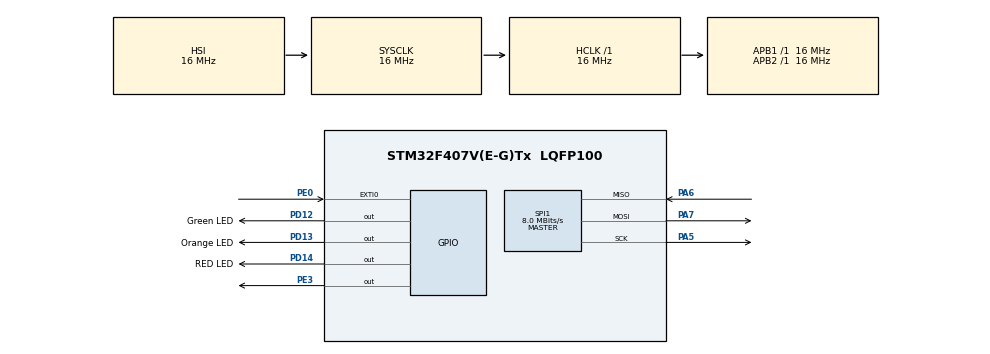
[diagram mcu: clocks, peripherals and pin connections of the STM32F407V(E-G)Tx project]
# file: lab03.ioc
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Mcu.Family=STM32F4
Mcu.Name=STM32F407V(E-G)Tx
Mcu.Package=LQFP100
NVIC.EXTI0_IRQn=true\:5\:0\:true\:false\:true\:true\:true\:true
NVIC.PriorityGroup=NVIC_PRIORITYGROUP_4
NVIC.TIM7_IRQn=true\:15\:0\:false\:false\:true\:false\:true\:true
NVIC.TimeBase=TIM7_IRQn
NVIC.TimeBaseIP=TIM7
PA13.Mode=Serial_Wire
PA13.Signal=SYS_JTMS-SWDIO
PA14.Mode=Serial_Wire
PA14.Signal=SYS_JTCK-SWCLK
PA5.Mode=Full_Duplex_Master
PA5.Signal=SPI1_SCK
PA6.Mode=Full_Duplex_Master
PA6.Signal=SPI1_MISO
PA7.Mode=Full_Duplex_Master
PA7.Signal=SPI1_MOSI
PD12.GPIO_Label=Green LED
PD12.Signal=GPIO_Output
PD13.GPIO_Label=Orange LED
PD13.Signal=GPIO_Output
PD14.GPIO_Label=RED LED
PD14.Signal=GPIO_Output
PE0.Signal=GPXTI0
PE3.Signal=GPIO_Output
ProjectManager.HeapSize=0x200
ProjectManager.StackSize=0x400
ProjectManager.TargetToolchain=STM32CubeIDE
RCC.AHBFreq_Value=16000000
RCC.APB1Freq_Value=16000000
RCC.APB2Freq_Value=16000000
RCC.CortexFreq_Value=16000000
RCC.HSE_VALUE=25000000
RCC.HSI_VALUE=16000000
RCC.LSE_VALUE=32768
RCC.SYSCLKFreq_VALUE=16000000
RCC.VCOOutputFreq_Value=192000000
SPI1.CalculateBaudRate=8.0 MBits/s
SPI1.Direction=SPI_DIRECTION_2LINES
SPI1.Mode=SPI_MODE_MASTER
SPI1.VirtualType=VM_MASTER
VP_SYS_VS_tim7.Mode=TIM7
board=custom

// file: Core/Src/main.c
/* USER CODE BEGIN Header */
/**
  ******************************************************************************
  * @file           : main.c
  * @brief          : Main program body
  ******************************************************************************
  * @attention
  *
  * <h2><center>&copy; Copyright (c) 2021 STMicroelectronics.
  * All rights reserved.</center></h2>
  *
  * This software component is licensed by ST under BSD 3-Clause license,
  * the "License"; You may not use this file except in compliance with the
  * License. You may obtain a copy of the License at:
  *                        opensource.org/licenses/BSD-3-Clause
  *
  ******************************************************************************
  */
/* USER CODE END Header */
#include "main.h"

/* USER CODE BEGIN Includes */
#include "FreeRTOS.h"
#include "task.h"
#include "semphr.h"

/* USER CODE END Includes */

/* USER CODE BEGIN PM */
#define LIS3DSH_WHO_AM_I_ADDR                0x0F
#define LIS3DSH_STAT_ADDR                    0x18
#define LIS3DSH_CTRL_REG4_ADDR               0x20
#define LIS3DSH_CTRL_REG1_ADDR               0x21
#define LIS3DSH_CTRL_REG2_ADDR               0x22
#define LIS3DSH_CTRL_REG3_ADDR               0x23
#define LIS3DSH_CTRL_REG5_ADDR               0x24
#define LIS3DSH_CTRL_REG6_ADDR               0x25

#define LIS3DSH_STATUS_ADDR                  0x27

#define LIS3DSH_OUT_X_L_ADDR                 0x28
#define LIS3DSH_OUT_X_H_ADDR                 0x29
#define LIS3DSH_OUT_Y_L_ADDR                 0x2A
#define LIS3DSH_OUT_Y_H_ADDR                 0x2B
#define LIS3DSH_OUT_Z_L_ADDR                 0x2C
#define LIS3DSH_OUT_Z_H_ADDR                 0x2D

#define LIS3DSH_ST1_1_ADDR                   0x40
#define LIS3DSH_ST1_2_ADDR                   0x41
#define LIS3DSH_THRS1_1_ADDR                 0x57
#define LIS3DSH_MASK1_B_ADDR                 0x59
#define LIS3DSH_MASK1_A_ADDR                 0x5A
#define LIS3DSH_SETT1_ADDR                   0x5B
#define LIS3DSH_OUTS1_ADDR                   0x5F
/* USER CODE END PM */

SPI_HandleTypeDef hspi1;

/* USER CODE BEGIN PV */

uint8_t data;
/* USER CODE END PV */

void SystemClock_Config(void);
static void MX_GPIO_Init(void);
static void MX_SPI1_Init(void);
/* USER CODE BEGIN PFP */
SemaphoreHandle_t xSemaphore = NULL;
/* USER CODE END PFP */

/* USER CODE BEGIN 0 */
void MEMS_Write(uint8_t address,uint8_t data){
	HAL_GPIO_WritePin(GPIOE, GPIO_PIN_3, GPIO_PIN_RESET);
	HAL_SPI_Transmit(&hspi1,&address,1,10);
	HAL_SPI_Transmit(&hspi1,&data,1,10);
	HAL_GPIO_WritePin(GPIOE, GPIO_PIN_3,GPIO_PIN_SET);
}
void MEMS_Read(uint8_t address,uint8_t *data){
    address |= 0x80;   //read
	HAL_GPIO_WritePin(GPIOE,GPIO_PIN_3,GPIO_PIN_RESET); //拉低
	HAL_SPI_Transmit(&hspi1,&address,1,10);   //告知讀取位置
	HAL_SPI_Receive(&hspi1,data,1,10);       //讀取
	HAL_GPIO_WritePin(GPIOE,GPIO_PIN_3,GPIO_PIN_SET);
}
void Green_LED_Task(void *pvParameters)
{
	//綠燈閃爍
	//使用 busywaiting
	for(;;){
		uint32_t From_begin_time = HAL_GetTick();
		HAL_GPIO_TogglePin(GPIOD, GPIO_PIN_12);
		while(HAL_GetTick() - From_begin_time < 250 / portTICK_RATE_MS){
		}
	}

}
void vHandlerTask( void *pvParameters )
{

	for(;;)
		{
			/* Take the semaphore */
			if (xSemaphoreTake(xSemaphore, portMAX_DELAY) == pdTRUE){
			// semaphore was obtained

				// 橘燈閃5次 使用 busy waiting
				for(int i=0;i<10;i++) {
					uint32_t From_begin_time = HAL_GetTick();
					HAL_GPIO_TogglePin(GPIOD, GPIO_PIN_13);
					while(HAL_GetTick() - From_begin_time < 250 / portTICK_RATE_MS){
					}
				}

				// reset interrupt register
				uint8_t data = 0;
				MEMS_Read(LIS3DSH_OUTS1_ADDR, &data);
			}

		}
}
//覆蓋原有的HAL_GPIO_EXTI_Callback
void HAL_GPIO_EXTI_Callback(uint16_t GPIO_Pin)
{
	/* 紅燈 toggle */
	HAL_GPIO_TogglePin(GPIOD, GPIO_PIN_14);

	/* Give the semaphore to unblock the handler task */
	BaseType_t xHigherPriorityTaskWoken;
	xHigherPriorityTaskWoken=pdFALSE;
	xSemaphoreGiveFromISR(xSemaphore,&xHigherPriorityTaskWoken);
	portYIELD_FROM_ISR(xHigherPriorityTaskWoken);
}
/* USER CODE END 0 */

int main(void)
{

  /* MCU Configuration--------------------------------------------------------*/

  /* Reset of all peripherals, Initializes the Flash interface and the Systick. */
  HAL_Init();

  /* Configure the system clock */
  SystemClock_Config();

  /* Initialize all configured peripherals */
  MX_GPIO_Init();
  MX_SPI1_Init();
  /* USER CODE BEGIN 2 */
  // 寫入 register //

  MEMS_Write(LIS3DSH_CTRL_REG1_ADDR,0x01);
  MEMS_Write(LIS3DSH_CTRL_REG3_ADDR,0x48);
  MEMS_Write(LIS3DSH_CTRL_REG4_ADDR,0x67);
  MEMS_Write(LIS3DSH_CTRL_REG5_ADDR,0x00);
  MEMS_Write(LIS3DSH_THRS1_1_ADDR,0x55);
  MEMS_Write(LIS3DSH_ST1_1_ADDR,0x05);
  MEMS_Write(LIS3DSH_ST1_2_ADDR,0x11);
  MEMS_Write(LIS3DSH_MASK1_B_ADDR,0xFC);
  MEMS_Write(LIS3DSH_MASK1_A_ADDR,0xFC);
  MEMS_Write(LIS3DSH_SETT1_ADDR,0x01);

  // Create the semaphore //
  xSemaphore = xSemaphoreCreateBinary();

  // task create //
  xTaskCreate(Green_LED_Task,"LED_Task",1000,NULL,1,NULL);
  xTaskCreate(vHandlerTask,"vHandlerTask",1000,NULL,5,NULL);

  vTaskStartScheduler();

  // USER CODE END 2 //

  /* Infinite loop */
  while (1)
  {

  }
}

void SystemClock_Config(void)
{
  RCC_OscInitTypeDef RCC_OscInitStruct = {0};
  RCC_ClkInitTypeDef RCC_ClkInitStruct = {0};

  /** Configure the main internal regulator output voltage
  */
  __HAL_RCC_PWR_CLK_ENABLE();
  __HAL_PWR_VOLTAGESCALING_CONFIG(PWR_REGULATOR_VOLTAGE_SCALE1);
  /** Initializes the RCC Oscillators according to the specified parameters
  * in the RCC_OscInitTypeDef structure.
  */
  RCC_OscInitStruct.OscillatorType = RCC_OSCILLATORTYPE_HSI;
  RCC_OscInitStruct.HSIState = RCC_HSI_ON;
  RCC_OscInitStruct.HSICalibrationValue = RCC_HSICALIBRATION_DEFAULT;
  RCC_OscInitStruct.PLL.PLLState = RCC_PLL_NONE;
  if (HAL_RCC_OscConfig(&RCC_OscInitStruct) != HAL_OK)
  {
    Error_Handler();
  }
  /** Initializes the CPU, AHB and APB buses clocks
  */
  RCC_ClkInitStruct.ClockType = RCC_CLOCKTYPE_HCLK|RCC_CLOCKTYPE_SYSCLK
                              |RCC_CLOCKTYPE_PCLK1|RCC_CLOCKTYPE_PCLK2;
  RCC_ClkInitStruct.SYSCLKSource = RCC_SYSCLKSOURCE_HSI;
  RCC_ClkInitStruct.AHBCLKDivider = RCC_SYSCLK_DIV1;
  RCC_ClkInitStruct.APB1CLKDivider = RCC_HCLK_DIV1;
  RCC_ClkInitStruct.APB2CLKDivider = RCC_HCLK_DIV1;

  if (HAL_RCC_ClockConfig(&RCC_ClkInitStruct, FLASH_LATENCY_0) != HAL_OK)
  {
    Error_Handler();
  }
}

static void MX_SPI1_Init(void)
{

  /* SPI1 parameter configuration*/
  hspi1.Instance = SPI1;
  hspi1.Init.Mode = SPI_MODE_MASTER;
  hspi1.Init.Direction = SPI_DIRECTION_2LINES;
  hspi1.Init.DataSize = SPI_DATASIZE_8BIT;
  hspi1.Init.CLKPolarity = SPI_POLARITY_LOW;
  hspi1.Init.CLKPhase = SPI_PHASE_1EDGE;
  hspi1.Init.NSS = SPI_NSS_SOFT;
  hspi1.Init.BaudRatePrescaler = SPI_BAUDRATEPRESCALER_2;
  hspi1.Init.FirstBit = SPI_FIRSTBIT_MSB;
  hspi1.Init.TIMode = SPI_TIMODE_DISABLE;
  hspi1.Init.CRCCalculation = SPI_CRCCALCULATION_DISABLE;
  hspi1.Init.CRCPolynomial = 10;
  if (HAL_SPI_Init(&hspi1) != HAL_OK)
  {
    Error_Handler();
  }

}

static void MX_GPIO_Init(void)
{
  GPIO_InitTypeDef GPIO_InitStruct = {0};

  /* GPIO Ports Clock Enable */
  __HAL_RCC_GPIOE_CLK_ENABLE();
  __HAL_RCC_GPIOA_CLK_ENABLE();
  __HAL_RCC_GPIOD_CLK_ENABLE();

  /*Configure GPIO pin Output Level */
  HAL_GPIO_WritePin(GPIOE, GPIO_PIN_3, GPIO_PIN_RESET);

  /*Configure GPIO pin Output Level */
  HAL_GPIO_WritePin(GPIOD, GPIO_PIN_12|GPIO_PIN_13|GPIO_PIN_14, GPIO_PIN_RESET);

  /*Configure GPIO pin : PE3 */
  GPIO_InitStruct.Pin = GPIO_PIN_3;
  GPIO_InitStruct.Mode = GPIO_MODE_OUTPUT_PP;
  GPIO_InitStruct.Pull = GPIO_NOPULL;
  GPIO_InitStruct.Speed = GPIO_SPEED_FREQ_LOW;
  HAL_GPIO_Init(GPIOE, &GPIO_InitStruct);

  /*Configure GPIO pins : PD12 PD13 PD14 */
  GPIO_InitStruct.Pin = GPIO_PIN_12|GPIO_PIN_13|GPIO_PIN_14;
  GPIO_InitStruct.Mode = GPIO_MODE_OUTPUT_PP;
  GPIO_InitStruct.Pull = GPIO_NOPULL;
  GPIO_InitStruct.Speed = GPIO_SPEED_FREQ_LOW;
  HAL_GPIO_Init(GPIOD, &GPIO_InitStruct);

  /*Configure GPIO pin : PE0 */
  GPIO_InitStruct.Pin = GPIO_PIN_0;
  GPIO_InitStruct.Mode = GPIO_MODE_IT_RISING;
  GPIO_InitStruct.Pull = GPIO_NOPULL;
  HAL_GPIO_Init(GPIOE, &GPIO_InitStruct);

  /* EXTI interrupt init*/
  HAL_NVIC_SetPriority(EXTI0_IRQn, 5, 0);
  HAL_NVIC_EnableIRQ(EXTI0_IRQn);

}

void HAL_TIM_PeriodElapsedCallback(TIM_HandleTypeDef *htim)
{
  if (htim->Instance == TIM7) {
    HAL_IncTick();
  }
}

void Error_Handler(void)
{
  __disable_irq();
  while (1)
  {
  }
}
